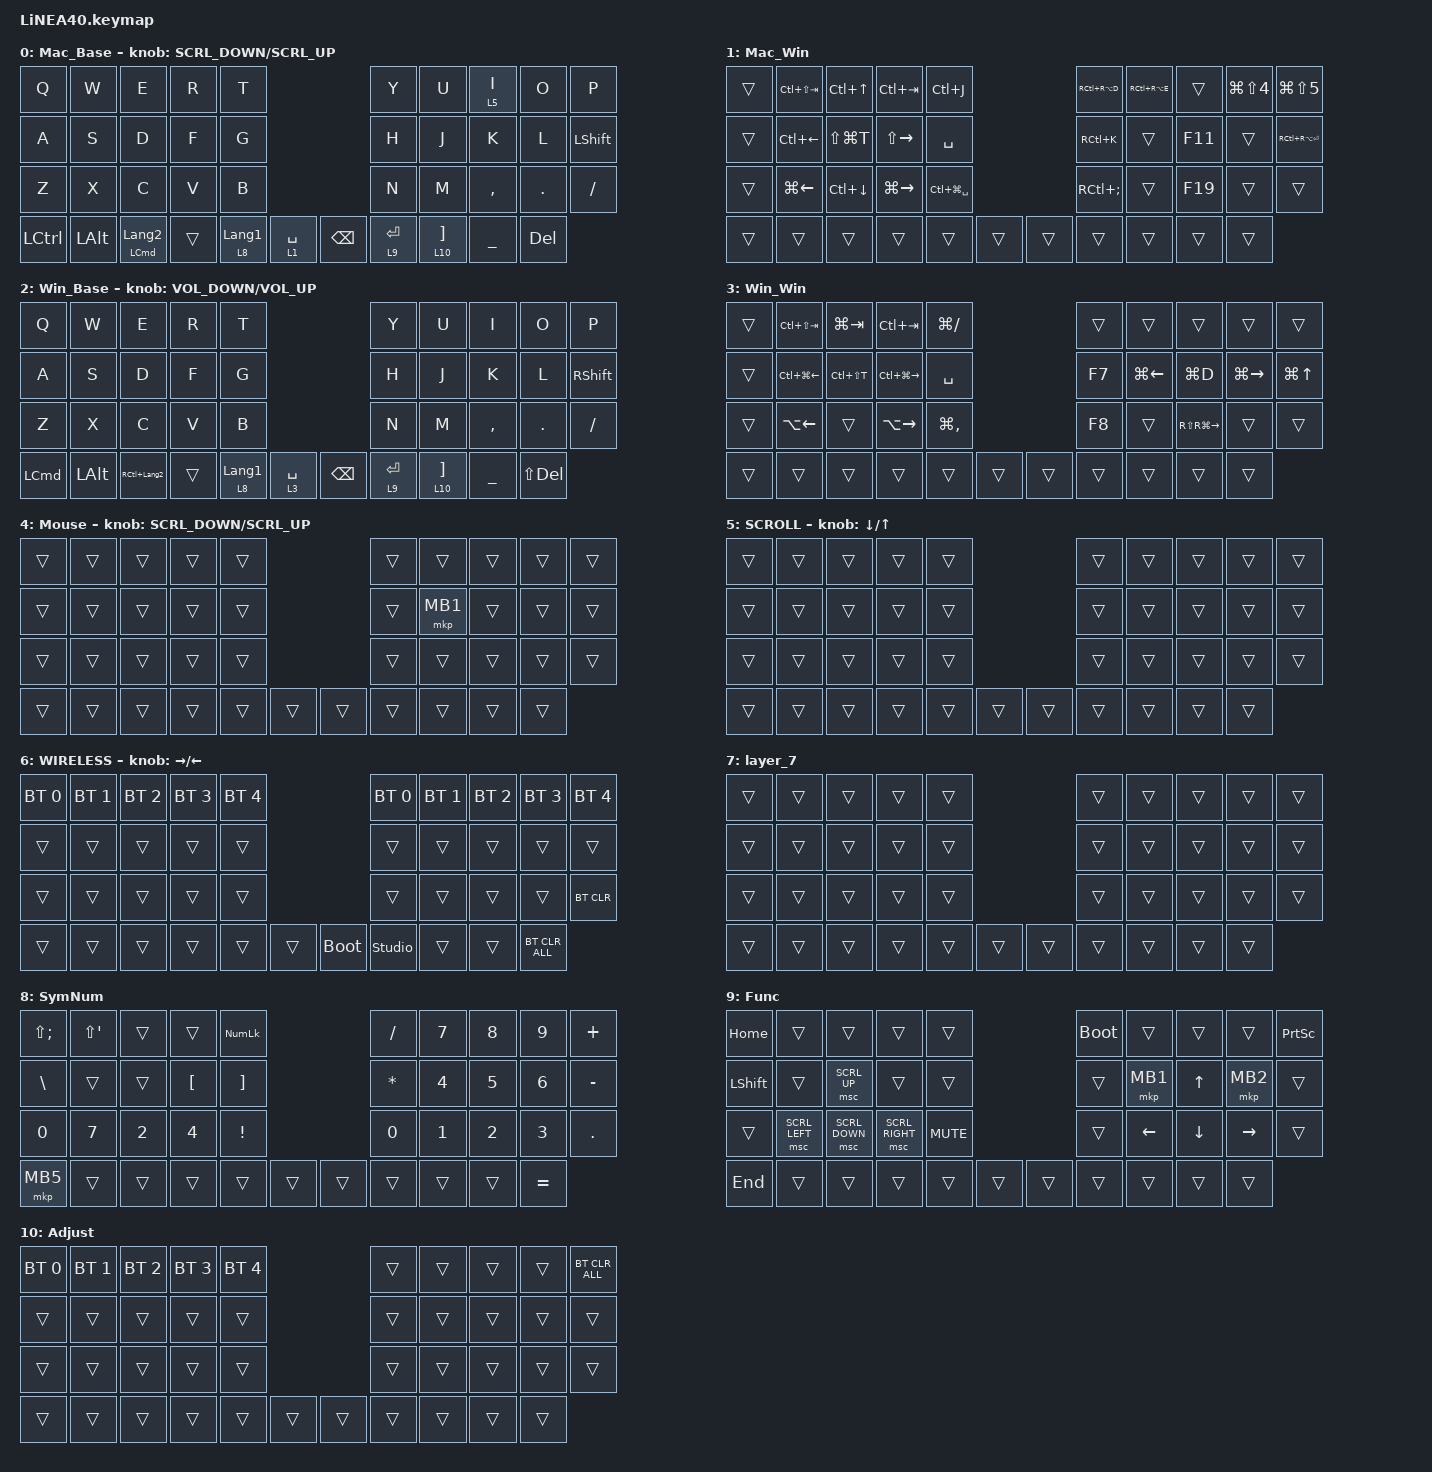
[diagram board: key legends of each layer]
#define ZMK_POINTING_DEFAULT_SCRL_VAL 150

#include <dt-bindings/zmk/input_transform.h>
#include <input/processors.dtsi>
#include <zephyr/dt-bindings/input/input-event-codes.h>
#include <behaviors.dtsi>
#include <dt-bindings/zmk/bt.h>
#include <dt-bindings/zmk/keys.h>
#include <dt-bindings/zmk/pointing.h>

#define MOUSE 1
#define MARK 2
#define CURSOR 3
#define FUNCTION 4
#define SCROLL 5
#define WIRELESS 6

//mouse cursol

&mmv {
    delay-ms = <20>;
    trigger-period-ms = <5>;
    time-to-max-speed-ms = <100>;
    acceleration-exponent = <2>;
};

//mouse scroll

&msc {
    delay-ms = <3>;
    trigger-period-ms = <3>;
    time-to-max-speed-ms = <100>;
    acceleration-exponent = <0>;
};

/ {
    input_processors {
        zip_wheel_scaler: zip_wheel_scaler {
            compatible = "zmk,input-processor-scaler";
            #input-processor-cells = <2>;
            type = <INPUT_EV_REL>;
            codes = <INPUT_REL_WHEEL>;
            track-remainders;
        };
    };
};

&msc_input_listener {
    speed_up {
        layers = <FUNCTION>;
        input-processors = <&zip_wheel_scaler 3 1>; //スクロールを3倍速にする
    };
};

&trackball_listener {
    scroller {
        layers = <SCROLL>;
        input-processors =
            <&zip_xy_transform INPUT_TRANSFORM_Y_INVERT>,
            //スクロール方向を逆転,,,,,,,,,,,,,,
            <&zip_xy_to_scroll_mapper>;
    };
};

/ {
    combos {
        compatible = "zmk,combos";

        ZenkakuHankaku {
            bindings = <&kp GRAVE>;
            key-positions = <11 12>;
        };

        DeleteKey {
            bindings = <&kp DEL>;
            key-positions = <7 8>;
        };

        InsertKey {
            bindings = <&kp INS>;
            key-positions = <6 7>;
        };

        CenterClick {
            bindings = <&mkp MB3>;
            key-positions = <17 16>;
        };

        RightClick {
            bindings = <&mkp MB2>;
            key-positions = <18 17>;
        };

        PrevClick {
            bindings = <&mkp MB4>;
            key-positions = <27 28>;
        };

        ClickNext {
            bindings = <&mkp MB5>;
            key-positions = <26 27>;
        };
    };

    behaviors {
        re_kp: sensor_rotate_kp {
            compatible = "zmk,behavior-sensor-rotate-var";
            #sensor-binding-cells = <2>;
            bindings = <&kp>, <&kp>;
        };

        mouse_scrl: mouse_wheel_scrl {
            compatible = "zmk,behavior-sensor-rotate-var";
            #sensor-binding-cells = <2>;
            bindings = <&msc>, <&msc>;

            tap-ms = <20>;
        };
    };

    macros {
        bt_Mac: bt_Mac {
            compatible = "zmk,behavior-macro";
            #binding-cells = <0>;
            bindings = <&bt BT_SEL 0>, <&macro_wait_time 200>, <&to 0>;

            label = "BT_MAC";
        };

        bt_Win: bt_Win {
            compatible = "zmk,behavior-macro";
            #binding-cells = <0>;
            bindings = <&bt BT_SEL 1>, <&macro_wait_time 200>, <&to 2>;

            label = "BT_WIN";
        };
    };

    keymap {
        compatible = "zmk,keymap";

        Mac_Base {
            bindings = <
&kp Q      &kp W         &kp E                        &kp R   &kp T                                           &kp Y        &kp U  &lt 5 I               &kp O      &kp P
&kp A      &kp S         &kp D                        &kp F   &kp G                                           &kp H        &kp J  &kp K                 &kp L      &kp LEFT_SHIFT
&kp Z      &kp X         &kp C                        &kp V   &kp B                                           &kp N        &kp M  &kp COMMA             &kp DOT    &kp SLASH
&kp LCTRL  &kp LEFT_ALT  &mt LEFT_COMMAND LANGUAGE_2  &trans  &lt 8 LANGUAGE_1  &lt 1 SPACE    &kp BACKSPACE  &lt 9 ENTER         &lt 10 RIGHT_BRACKET  &kp UNDER  &kp DELETE
            >;

            sensor-bindings = <&mouse_scrl SCRL_DOWN SCRL_UP>;
        };

        //1

        Mac_Win {
            bindings = <
&trans  &kp LC(LS(TAB))  &kp LC(UP_ARROW)  &kp LC(TAB)    &kp LC(J)                            &kp RC(RA(D))      &kp RC(RA(E))  &trans   &kp LG(LS(NUMBER_4))  &kp LG(LS(N5))
&trans  &kp LC(LEFT)     &kp LS(LG(T))     &kp LS(RIGHT)  &kp SPACE                            &kp RC(K)          &trans         &kp F11  &trans                &kp RC(RA(ENTER))
&trans  &kp LG(LEFT)     &kp LC(DOWN)      &kp LG(RIGHT)  &kp LC(LG(SPACE))                    &kp RC(SEMICOLON)  &trans         &kp F19  &trans                &trans
&trans  &trans           &trans            &trans         &trans             &trans    &trans  &trans                            &trans   &trans                &trans
            >;
        };

        //2

        Win_Base {
            bindings = <
&kp Q             &kp W         &kp E               &kp R   &kp T                                           &kp Y        &kp U  &kp I                 &kp O           &kp P
&kp A             &kp S         &kp D               &kp F   &kp G                                           &kp H        &kp J  &kp K                 &kp L           &kp RIGHT_SHIFT
&kp Z             &kp X         &kp C               &kp V   &kp B                                           &kp N        &kp M  &kp COMMA             &kp PERIOD      &kp SLASH
&kp LEFT_COMMAND  &kp LEFT_ALT  &kp RC(LANGUAGE_2)  &trans  &lt 8 LANGUAGE_1  &lt 3 SPACE    &kp BACKSPACE  &lt 9 ENTER         &lt 10 RIGHT_BRACKET  &kp UNDERSCORE  &kp LS(DEL)
            >;

            sensor-bindings = <&re_kp C_VOLUME_DOWN C_VOLUME_UP>;
        };

        //3

        Win_Win {
            bindings = <
&trans  &kp LC(LS(TAB))   &kp LG(TAB)    &kp LC(TAB)              &kp LG(SLASH)                    &trans  &trans        &trans             &trans         &trans
&trans  &kp LC(LG(LEFT))  &kp LC(LS(T))  &kp LC(LG(RIGHT_ARROW))  &kp SPACE                        &kp F7  &kp LG(LEFT)  &kp LG(D)          &kp LG(RIGHT)  &kp LG(UP_ARROW)
&trans  &kp LA(LEFT)      &trans         &kp LA(RIGHT)            &kp LG(COMMA)                    &kp F8  &trans        &kp RS(RG(RIGHT))  &trans         &trans
&trans  &trans            &trans         &trans                   &trans         &trans    &trans  &trans                &trans             &trans         &trans
            >;
        };

        //4

        Mouse {
            bindings = <
&trans  &trans  &trans  &trans  &trans                    &trans  &trans    &trans  &trans  &trans
&trans  &trans  &trans  &trans  &trans                    &trans  &mkp MB1  &trans  &trans  &trans
&trans  &trans  &trans  &trans  &trans                    &trans  &trans    &trans  &trans  &trans
&trans  &trans  &trans  &trans  &trans  &trans    &trans  &trans            &trans  &trans  &trans
            >;

            sensor-bindings = <&mouse_scrl SCRL_DOWN SCRL_UP>;
        };

        //5

        SCROLL {
            bindings = <
&trans  &trans  &trans  &trans  &trans                    &trans  &trans  &trans  &trans  &trans
&trans  &trans  &trans  &trans  &trans                    &trans  &trans  &trans  &trans  &trans
&trans  &trans  &trans  &trans  &trans                    &trans  &trans  &trans  &trans  &trans
&trans  &trans  &trans  &trans  &trans  &trans    &trans  &trans          &trans  &trans  &trans
            >;

            sensor-bindings = <&inc_dec_kp DOWN_ARROW UP_ARROW>;
        };

        //6

        WIRELESS {
            bindings = <
&bt BT_SEL 0  &bt BT_SEL 1  &bt BT_SEL 2  &bt BT_SEL 3  &bt BT_SEL 4                         &bt BT_SEL 0    &bt BT_SEL 1  &bt BT_SEL 2  &bt BT_SEL 3  &bt BT_SEL 4
&trans        &trans        &trans        &trans        &trans                               &trans          &trans        &trans        &trans        &trans
&trans        &trans        &trans        &trans        &trans                               &trans          &trans        &trans        &trans        &bt BT_CLR
&trans        &trans        &trans        &trans        &trans        &trans    &bootloader  &studio_unlock                &trans        &trans        &bt BT_CLR_ALL
            >;

            sensor-bindings = <&inc_dec_kp RIGHT_ARROW LEFT_ARROW>;
        };

        layer_7 {
            bindings = <
&trans  &trans  &trans  &trans  &trans                    &trans  &trans  &trans  &trans  &trans
&trans  &trans  &trans  &trans  &trans                    &trans  &trans  &trans  &trans  &trans
&trans  &trans  &trans  &trans  &trans                    &trans  &trans  &trans  &trans  &trans
&trans  &trans  &trans  &trans  &trans  &trans    &trans  &trans          &trans  &trans  &trans
            >;
        };

        SymNum {
            bindings = <
&kp LS(SEMI)   &kp LS(APOSTROPHE)  &trans        &trans            &kp KP_NUMLOCK                       &kp SLASH  &kp NUMBER_7  &kp NUMBER_8  &kp NUMBER_9  &kp PLUS
&kp BACKSLASH  &trans              &trans        &kp LEFT_BRACKET  &kp RIGHT_BRACKET                    &kp ASTRK  &kp NUMBER_4  &kp NUMBER_5  &kp NUMBER_6  &kp MINUS
&kp N0         &kp N7              &kp NUMBER_2  &kp NUMBER_4      &kp EXCLAMATION                      &kp N0     &kp NUMBER_1  &kp NUMBER_2  &kp NUMBER_3  &kp PERIOD
&mkp MB5       &trans              &trans        &trans            &trans             &trans    &trans  &trans                   &trans        &trans        &kp EQUAL
            >;
        };

        Func {
            bindings = <
&kp HOME        &trans          &trans          &trans           &trans                        &bootloader  &trans    &trans        &trans     &kp PSCRN
&kp LEFT_SHIFT  &trans          &msc SCRL_UP    &trans           &trans                        &trans       &mkp MB1  &kp UP_ARROW  &mkp MB2   &trans
&trans          &msc SCRL_LEFT  &msc SCRL_DOWN  &msc SCRL_RIGHT  &kp K_MUTE                    &trans       &kp LEFT  &kp DOWN      &kp RIGHT  &trans
&kp END         &trans          &trans          &trans           &trans      &trans    &trans  &trans                 &trans        &trans     &trans
            >;
        };

        Adjust {
            bindings = <
&bt BT_SEL 0  &bt BT_SEL 1  &bt BT_SEL 2  &bt BT_SEL 3  &bt BT_SEL 4                    &trans  &trans  &trans  &trans  &bt BT_CLR_ALL
&trans        &trans        &trans        &trans        &trans                          &trans  &trans  &trans  &trans  &trans
&trans        &trans        &trans        &trans        &trans                          &trans  &trans  &trans  &trans  &trans
&trans        &trans        &trans        &trans        &trans        &trans    &trans  &trans          &trans  &trans  &trans
            >;
        };
    };
};
